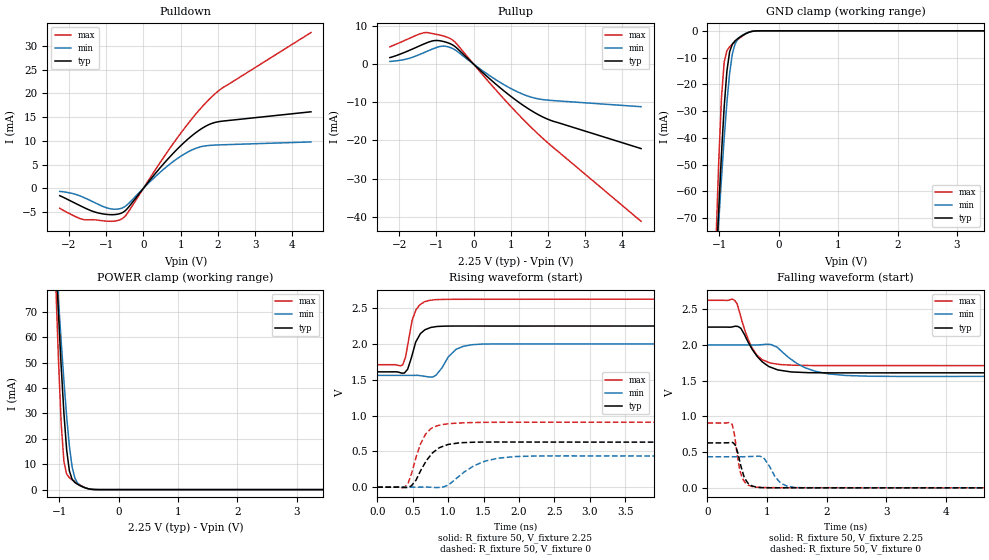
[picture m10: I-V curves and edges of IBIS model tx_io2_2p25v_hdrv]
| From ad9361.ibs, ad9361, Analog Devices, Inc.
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|   Model: SCKI_io2_2p25v_hdrv
[Model]   tx_io2_2p25v_hdrv
Model_type  I/O
Vinl=0.45
Vinh=1.8
Vref=0
Vmeas=1.125
Rref=1G
Cref=3pF
|variable   typ   min   max
C_comp_pullup   1.098664E-12 9.367054E-13 1.183783E-12
C_comp_pulldown   5.121708E-13 4.154891E-13 5.875883E-13
[C Comp Corner]
C_comp_pullup   9.367054E-13 1.098664E-12 1.183783E-12
C_comp_pulldown   5.121708E-13 5.875883E-13 4.154891E-13
[Temperature Range]   25   85   -40
[Voltage Range]   2.25   2   2.625
[Power Clamp Reference]  2.25   2   2.625
[GND Clamp Reference]   0   0   0
[Pullup Reference]   2.25   2   2.625
[Pulldown Reference]   0   0   0
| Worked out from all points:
|   slope of the pulldown table from 0 to 0.337 V, typ, clamps not added: 103 ohm
|   slope of the pullup table from 0 to 0.337 V, typ, clamps not added: 111 ohm
|   GND clamp passes 1 mA (typ) near -0.55 V on its own axis
|   POWER clamp passes 1 mA (typ) near -0.59 V on its own axis
|   rising waveform, R_fixture 50, V_fixture 2.25: 20-80 % time 138ps typ, 200ps min, 121ps max; typ from 1.61 V to 2.25 V
|   falling waveform, R_fixture 50, V_fixture 2.25: 20-80 % time 328ps typ, 507ps min, 256ps max; typ from 2.25 V to 1.61 V
|   rising waveform, R_fixture 50, V_fixture 0: 20-80 % time 252ps typ, 408ps min, 194ps max; typ from 0 V to 0.629 V
|   falling waveform, R_fixture 50, V_fixture 0: 20-80 % time 127ps typ, 203ps min, 111ps max; typ from 0.629 V to 0 V
[Power clamp]
| Voltage   I(typ)   I(min)   I(max)
-2.25V    758.5mA    585mA      1.064A
-1.056V   91.6mA     91.71mA    81.27mA
-1.01V    69.31mA    74.66mA    50.95mA
-964.3mV  48.45mA    58.25mA    25.93mA
-918.4mV  29.96mA    42.77mA    11mA
-872.4mV  15.62mA    28.75mA    6.12mA
-826.5mV  7.344mA    17.08mA    4.702mA
-780.6mV  4.069mA    8.909mA    3.864mA
-734.7mV  2.808mA    4.54mA     3.121mA
-596.9mV  1.035mA    991.2uA    1.17mA
-367.3mV  12.51uA    16.97uA    8.336uA
4.5V      -2.684nA   -11.21nA   -171.1pA
[GND Clamp]
| Voltage   I(typ)   I(min)   I(max)
-2.25V    -753.4mA   -580.1mA   -1.059A
-1.056V   -88.67mA   -88.22mA   -78.71mA
-1.01V    -66.66mA   -71.38mA   -48.96mA
-964.3mV  -46.19mA   -55.25mA   -25.09mA
-918.4mV  -28.35mA   -40.16mA   -11.69mA
-872.4mV  -15.03mA   -26.7mA    -7.416mA
-826.5mV  -7.805mA   -15.83mA   -5.976mA
-780.6mV  -4.962mA   -8.594mA   -5.001mA
-734.7mV  -3.72mA    -4.864mA   -4.107mA
-551mV    -1.001mA   -916.1uA   -1.063mA
-321.4mV  -5.147uA   -8.309uA   -2.147uA
4.5V      2.413nA    17.88nA    77.97pA
[Pullup]
| Voltage   I(typ)   I(min)   I(max)
-2.25V    1.71mA     704.3uA    4.54mA
-1.791V   3.338mA    1.361mA    6.471mA
-1.286V   5.477mA    3.21mA     8.266mA
-1.056V   6.163mA    4.149mA    7.897mA
-872.4mV  6.058mA    4.675mA    7.523mA
-734.7mV  5.722mA    4.648mA    7.129mA
-551mV    4.952mA    4.024mA    6.218mA
642.9mV   -5.62mA    -4.364mA   -7.259mA
1.102V    -9.188mA   -6.898mA   -12.14mA
1.515V    -11.96mA   -8.554mA   -16.26mA
2.112V    -14.87mA   -9.53mA    -21.6mA
4.5V      -22.12mA   -11.15mA   -41.16mA
[Pulldown]
| Voltage   I(typ)   I(min)   I(max)
-2.25V    -1.575mA   -674uA     -4.242mA
-1.607V   -4.051mA   -1.948mA   -6.618mA
-1.286V   -5.075mA   -3.139mA   -6.684mA
-918.4mV  -5.573mA   -4.297mA   -6.982mA
-551mV    -5.086mA   -4.099mA   -6.315mA
-413.3mV  -4.115mA   -3.323mA   -5.067mA
321.4mV   3.135mA    2.464mA    3.921mA
826.5mV   7.596mA    5.793mA    9.726mA
1.286V    10.98mA    8.012mA    14.5mA
1.699V    13.2mA     8.971mA    18.22mA
2.158V    14.19mA    9.177mA    21.35mA
4.5V      16.13mA    9.767mA    32.85mA
[Rising Waveform]
R_fixture = 50
V_fixture = 2.25
V_fixture_min = 2
V_fixture_max = 2.625
| time   V(typ)   V(min)   V(max)
0s        1.61V      1.56V      1.71V
358.5ps   1.592V     1.56V      1.707V
428.4ps   1.646V     1.56V      1.981V
491.8ps   1.846V     1.561V     2.332V
545.9ps   2.033V     1.561V     2.476V
672.9ps   2.198V     1.547V     2.59V
823.5ps   2.24V      1.56V      2.618V
1.113ns   2.249V     1.925V     2.623V
1.484ns   2.249V     1.997V     2.623V
15.12ns   2.25V      2V         2.625V
[Falling Waveform]
R_fixture = 50
V_fixture = 2.25
V_fixture_min = 2
V_fixture_max = 2.625
| time   V(typ)   V(min)   V(max)
0s        2.25V      2V         2.625V
456ps     2.26V      2V         2.625V
559.9ps   2.233V     2V         2.393V
688.5ps   2.031V     2V         2.066V
822.8ps   1.852V     2V         1.863V
1.06ns    1.688V     2.008V     1.746V
1.226ns   1.645V     1.924V     1.725V
1.632ns   1.614V     1.683V     1.714V
2.317ns   1.609V     1.573V     1.711V
11.03ns   1.61V      1.561V     1.71V
[Rising Waveform]
R_fixture = 50
V_fixture = 0
V_fixture_min = 0
V_fixture_max = 0
| time   V(typ)   V(min)   V(max)
0s        -12.15nV   41.02nV    -955.3pV
392.4ps   -5.358mV   881.4nV    6.913mV
435.3ps   -2.59mV    -261.2nV   55.4mV
544.9ps   95.42mV    -11.65uV   410.2mV
680.2ps   349.2mV    944.2uV    738.5mV
874.8ps   550.5mV    -4.268mV   863.8mV
1.072ns   606.5mV    85.62mV    890.7mV
1.518ns   629.2mV    362.7mV    904.7mV
1.951ns   629.8mV    427.1mV    906.3mV
13.95ns   629.3mV    434.9mV    907.8mV
[Falling Waveform]
R_fixture = 50
V_fixture = 0
V_fixture_min = 0
V_fixture_max = 0
| time   V(typ)   V(min)   V(max)
0s        629.3mV    435mV      907.8mV
416.4ps   635.3mV    435mV      884mV
541.9ps   372.3mV    435mV      244.5mV
588ps     227.6mV    435mV      129.6mV
677.2ps   66.9mV     437.8mV    43.4mV
824.5ps   10.47mV    443mV      8.628mV
956.8ps   2.347mV    406.3mV    4.391mV
1.228ns   1.029mV    66.49mV    2.784mV
1.568ns   954.9uV    1.885mV    2.304mV
14ns      30.31uV    108.3uV    38.32uV
[Ramp]
| variable   typ   min   max
dV/dt_r  0.377578/2.52E-10   0.260939/4.08E-10   0.544701/1.94E-10
dV/dt_f  0.384142/3.28E-10   0.263552/5.07E-10   0.549220/2.56E-10
R_load = 50
|   End of [Model]: SCKI_io2_2p25v_hdrv
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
